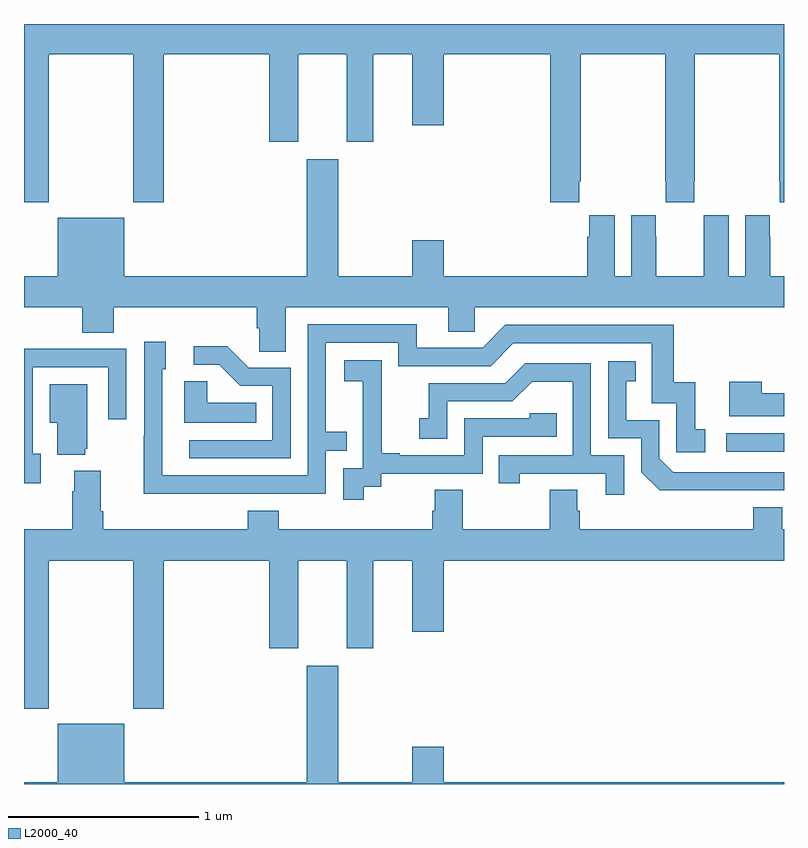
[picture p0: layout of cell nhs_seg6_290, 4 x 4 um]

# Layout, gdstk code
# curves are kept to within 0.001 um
import gdstk
lib = gdstk.Library(unit=1e-6, precision=1e-09)
def R(c, l, rs):  # rectangles x0, y0, x1, y1
    for r in rs: c.add(gdstk.rectangle(r[:2], r[2:], *l))
def P(c, l, *ps):  # polygons
    for p in ps: c.add(gdstk.Polygon(p, *l))
L2000_40 = (2000, 40)

nhs_seg6_290 = lib.new_cell('nhs_seg6_290')
R(nhs_seg6_290, L2000_40, [(130.695,941.25,131,941.346)])
P(nhs_seg6_290, L2000_40, [(127.131,943.34),(127.576,943.34),(127.576,942.561),(127.736,942.561),(127.736,943.34),(128.291,943.34),(128.291,942.879),(128.443,942.879),(128.443,943.34),(128.699,943.34),(128.699,942.879),(128.839,942.879),(128.839,943.34),(129.044,943.34),(129.044,942.966),(129.208,942.966),(129.208,943.34),(129.77,943.34),(129.77,942.561),(129.923,942.561),(129.923,942.673),(129.93,942.673),(129.93,943.34),(130.375,943.34),(130.375,942.673),(130.377,942.673),(130.377,942.561),(130.527,942.561),(130.527,942.673),(130.53,942.673),(130.53,943.34),(130.975,943.34),(130.975,942.673),(130.977,942.673),(130.977,942.561),(131,942.561),(131,943.5),(127,943.5),(127,942.561),(127.131,942.561)],
  [(128.377,942.008),(129.233,942.008),(129.233,941.881),(129.372,941.881),(129.372,942.008),(131,942.008),(131,942.172),(130.927,942.172),(130.927,942.38),(130.926,942.38),(130.926,942.493),(130.796,942.493),(130.796,942.172),(130.708,942.172),(130.708,942.493),(130.578,942.493),(130.578,942.38),(130.577,942.38),(130.577,942.172),(130.327,942.172),(130.327,942.38),(130.326,942.38),(130.326,942.493),(130.196,942.493),(130.196,942.172),(130.108,942.172),(130.108,942.493),(129.974,942.493),(129.974,942.38),(129.965,942.38),(129.965,942.172),(129.208,942.172),(129.208,942.361),(129.044,942.361),(129.044,942.172),(128.653,942.172),(128.653,942.787),(128.489,942.787),(128.489,942.172),(127.528,942.172),(127.528,942.481),(127.178,942.481),(127.178,942.172),(127,942.172),(127,942.008),(127.307,942.008),(127.307,941.875),(127.472,941.875),(127.472,942.008),(128.225,942.008),(128.225,941.899),(128.238,941.899),(128.238,941.776),(128.377,941.776)],
  [(128.093,941.028),(128.589,941.028),(128.589,941.253),(128.699,941.253),(128.699,941.354),(128.589,941.354),(128.589,941.823),(128.97,941.823),(128.97,941.7),(129.456,941.7),(129.576,941.82),(130.305,941.82),(130.305,941.505),(130.434,941.505),(130.434,941.247),(130.585,941.247),(130.585,941.367),(130.532,941.367),(130.532,941.614),(130.421,941.614),(130.421,941.916),(129.534,941.916),(129.414,941.796),(129.067,941.796),(129.067,941.919),(128.493,941.919),(128.493,941.124),(127.728,941.124),(127.728,941.682),(127.747,941.682),(127.747,941.827),(127.632,941.827),(127.632,941.333),(127.63,941.333),(127.63,941.027)],
  [(128.403,941.691),(128.184,941.691),(128.071,941.804),(127.893,941.804),(127.893,941.706),(128.027,941.706),(128.138,941.595),(128.307,941.595),(128.307,941.31),(127.869,941.31),(127.869,941.214),(128.403,941.214)],
  [(127.087,941.238),(127.047,941.238),(127.047,941.694),(127.443,941.694),(127.443,941.421),(127.539,941.421),(127.539,941.79),(127.223,941.79),(127.223,941.792),(127,941.792),(127,941.082),(127.087,941.082)],
  [(128.788,941.065),(128.88,941.065),(128.88,941.133),(129.414,941.133),(129.414,941.328),(129.803,941.328),(129.803,941.451),(129.663,941.451),(129.663,941.424),(129.318,941.424),(129.318,941.229),(128.977,941.229),(128.977,941.242),(128.882,941.242),(128.882,941.525),(128.883,941.525),(128.883,941.731),(128.685,941.731),(128.685,941.621),(128.783,941.621),(128.783,941.393),(128.784,941.393),(128.784,941.163),(128.679,941.163),(128.679,940.995),(128.788,940.995)],
  [(130.754,941.046),(131,941.046),(131,941.142),(130.416,941.142),(130.344,941.214),(130.344,941.415),(130.171,941.415),(130.171,941.619),(130.22,941.619),(130.22,941.725),(130.074,941.725),(130.074,941.319),(130.248,941.319),(130.248,941.142),(130.346,941.045)],
  [(130.158,941.229),(129.984,941.229),(129.984,941.715),(129.638,941.715),(129.533,941.61),(129.13,941.61),(129.13,941.425),(129.081,941.425),(129.081,941.316),(129.228,941.316),(129.228,941.514),(129.57,941.514),(129.674,941.618),(129.888,941.618),(129.888,941.229),(129.499,941.229),(129.499,941.082),(129.61,941.082),(129.61,941.133),(130.061,941.133),(130.061,941.022),(130.158,941.022)],
  [(128.222,941.506),(127.965,941.506),(127.965,941.621),(127.844,941.621),(127.844,941.402),(128.222,941.402)],
  [(131,941.557),(130.883,941.557),(130.883,941.617),(130.712,941.617),(130.712,941.435),(131,941.435)],
  [(127.322,941.265),(127.333,941.265),(127.333,941.605),(127.136,941.605),(127.136,941.402),(127.175,941.402),(127.175,941.234),(127.322,941.234)],
  [(127.131,940.676),(127.576,940.676),(127.576,939.897),(127.736,939.897),(127.736,940.676),(128.291,940.676),(128.291,940.215),(128.443,940.215),(128.443,940.676),(128.699,940.676),(128.699,940.215),(128.839,940.215),(128.839,940.676),(129.044,940.676),(129.044,940.302),(129.208,940.302),(129.208,940.676),(131,940.676),(131,940.84),(130.99,940.84),(130.99,940.957),(130.838,940.957),(130.838,940.84),(129.926,940.84),(129.926,940.938),(129.913,940.938),(129.913,941.048),(129.766,941.048),(129.766,940.84),(129.309,940.84),(129.309,941.048),(129.161,941.048),(129.161,940.938),(129.149,940.938),(129.149,940.84),(128.342,940.84),(128.342,940.939),(128.177,940.939),(128.177,940.84),(127.418,940.84),(127.418,940.936),(127.405,940.936),(127.405,941.149),(127.265,941.149),(127.265,941.042),(127.253,941.042),(127.253,940.84),(127,940.84),(127,939.897),(127.131,939.897)],
  [(131,939.508),(129.208,939.508),(129.208,939.697),(129.044,939.697),(129.044,939.508),(128.653,939.508),(128.653,940.123),(128.489,940.123),(128.489,939.508),(127.528,939.508),(127.528,939.817),(127.178,939.817),(127.178,939.508),(127,939.508),(127,939.5),(131,939.5)])

lib.write_gds('nhs_seg6_290.gds')
